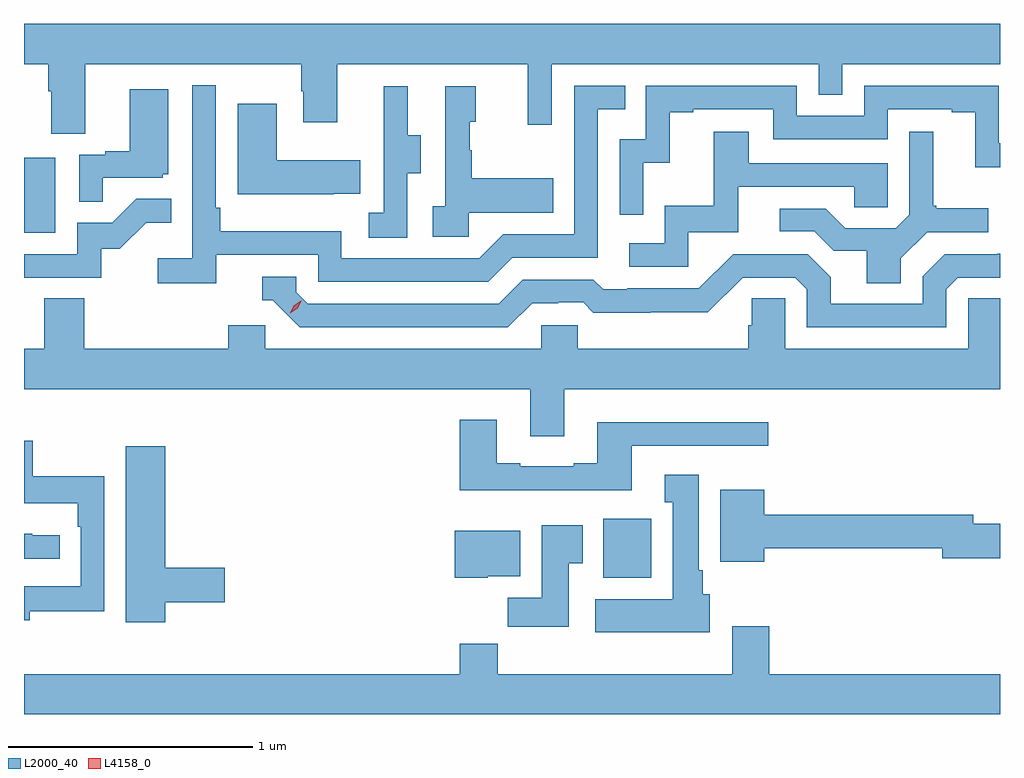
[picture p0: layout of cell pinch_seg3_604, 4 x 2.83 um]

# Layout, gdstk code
import gdstk
lib = gdstk.Library(unit=1e-6, precision=1e-09)
def R(c, l, rs):  # rectangles x0, y0, x1, y1
    for r in rs: c.add(gdstk.rectangle(r[:2], r[2:], *l))
def P(c, l, *ps):  # polygons
    for p in ps: c.add(gdstk.Polygon(p, *l))
L2000_40 = (2000, 40)
L4158_0 = (4158, 0)

pinch_seg3_604 = lib.new_cell('pinch_seg3_604')
R(pinch_seg3_604, L2000_40, [(1048.403,705.47,1048.6,705.712), (1046.029,706.884,1046.158,707.191)])
P(pinch_seg3_604, L2000_40, [(1046.281,707.576),(1047.166,707.576),(1047.166,707.465),(1047.173,707.465),(1047.173,707.337),(1047.313,707.337),(1047.313,707.576),(1048.094,707.576),(1048.094,707.328),(1048.191,707.328),(1048.191,707.576),(1049.286,707.576),(1049.286,707.449),(1049.382,707.449),(1049.382,707.576),(1050.029,707.576),(1050.029,707.74),(1046.029,707.74),(1046.029,707.576),(1046.129,707.576),(1046.129,707.464),(1046.141,707.464),(1046.141,707.29),(1046.281,707.29)],
  [(1046.816,706.794),(1047.234,706.794),(1047.234,706.683),(1047.931,706.683),(1048.03,706.782),(1048.38,706.782),(1048.38,707.391),(1048.493,707.391),(1048.493,707.487),(1048.284,707.487),(1048.284,706.878),(1047.993,706.878),(1047.894,706.779),(1047.33,706.779),(1047.33,706.891),(1046.834,706.891),(1046.834,706.987),(1046.814,706.987),(1046.814,707.488),(1046.718,707.488),(1046.718,706.78),(1046.577,706.78),(1046.577,706.678),(1046.816,706.678)],
  [(1048.566,707.171),(1048.676,707.171),(1048.676,707.379),(1048.771,707.379),(1048.771,707.391),(1049.1,707.391),(1049.1,707.268),(1049.568,707.268),(1049.568,707.391),(1049.831,707.391),(1049.831,707.379),(1049.927,707.379),(1049.927,707.153),(1050.029,707.153),(1050.029,707.251),(1050.024,707.251),(1050.024,707.487),(1049.472,707.487),(1049.472,707.364),(1049.196,707.364),(1049.196,707.487),(1048.578,707.487),(1048.578,707.268),(1048.47,707.268),(1048.47,706.959),(1048.566,706.959)],
  [(1047.852,706.967),(1048.199,706.967),(1048.199,707.107),(1047.865,707.107),(1047.865,707.222),(1047.855,707.222),(1047.855,707.34),(1047.88,707.34),(1047.88,707.485),(1047.756,707.485),(1047.756,706.994),(1047.705,706.994),(1047.705,706.869),(1047.852,706.869)],
  [(1047.6,707.128),(1047.655,707.128),(1047.655,707.283),(1047.601,707.283),(1047.601,707.485),(1047.503,707.485),(1047.503,707.271),(1047.504,707.271),(1047.504,706.967),(1047.441,706.967),(1047.441,706.864),(1047.6,706.864)],
  [(1046.351,707.109),(1046.598,707.109),(1046.598,707.124),(1046.62,707.124),(1046.62,707.473),(1046.462,707.473),(1046.462,707.218),(1046.363,707.218),(1046.363,707.205),(1046.256,707.205),(1046.256,707.011),(1046.351,707.011)],
  [(1047.299,707.045),(1047.407,707.045),(1047.407,707.182),(1047.064,707.182),(1047.064,707.413),(1046.906,707.413),(1046.906,707.042),(1047.299,707.042)],
  [(1048.752,706.887),(1048.957,706.887),(1048.957,707.073),(1049.431,707.073),(1049.431,706.989),(1049.568,706.989),(1049.568,707.169),(1048.999,707.169),(1048.999,707.299),(1048.855,707.299),(1048.855,706.996),(1048.656,706.996),(1048.656,706.842),(1048.509,706.842),(1048.509,706.746),(1048.752,706.746)],
  [(1049.623,706.78),(1049.73,706.887),(1049.98,706.887),(1049.98,706.984),(1049.767,706.984),(1049.767,706.996),(1049.755,706.996),(1049.755,707.299),(1049.658,707.299),(1049.658,706.959),(1049.601,706.902),(1049.395,706.902),(1049.314,706.983),(1049.127,706.983),(1049.127,706.89),(1049.268,706.89),(1049.348,706.81),(1049.483,706.81),(1049.483,706.678),(1049.623,706.678)],
  [(1046.346,706.818),(1046.422,706.818),(1046.529,706.925),(1046.633,706.925),(1046.633,707.024),(1046.489,707.024),(1046.391,706.926),(1046.247,706.926),(1046.247,706.797),(1046.029,706.797),(1046.029,706.701),(1046.346,706.701)],
  [(1048.111,706.596),(1048.218,706.596),(1048.218,706.599),(1048.321,706.599),(1048.363,706.557),(1048.596,706.557),(1048.596,706.559),(1048.832,706.559),(1048.974,706.701),(1049.19,706.701),(1049.238,706.653),(1049.238,706.497),(1049.808,706.497),(1049.808,706.653),(1049.856,706.701),(1050.029,706.701),(1050.029,706.799),(1050.018,706.799),(1050.018,706.797),(1049.802,706.797),(1049.712,706.707),(1049.712,706.593),(1049.335,706.593),(1049.335,706.703),(1049.241,706.797),(1048.935,706.797),(1048.794,706.656),(1048.501,706.656),(1048.501,706.653),(1048.402,706.653),(1048.363,706.692),(1048.074,706.692),(1047.975,706.593),(1047.192,706.593),(1047.144,706.641),(1047.144,706.704),(1047.005,706.704),(1047.005,706.608),(1047.048,706.608),(1047.159,706.497),(1048.012,706.497)],
  [(1050.029,706.616),(1049.898,706.616),(1049.898,706.408),(1049.148,706.408),(1049.148,706.616),(1049.011,706.616),(1049.011,706.506),(1048.997,706.506),(1048.997,706.408),(1048.299,706.408),(1048.299,706.506),(1048.149,706.506),(1048.149,706.408),(1047.018,706.408),(1047.018,706.506),(1046.867,706.506),(1046.867,706.408),(1046.276,706.408),(1046.276,706.616),(1046.111,706.616),(1046.111,706.408),(1046.029,706.408),(1046.029,706.244),(1048.103,706.244),(1048.103,706.05),(1048.243,706.05),(1048.243,706.244),(1050.029,706.244)],
  [(1048.519,706.011),(1049.08,706.011),(1049.08,706.108),(1048.379,706.108),(1048.379,705.94),(1048.283,705.94),(1048.283,705.927),(1048.063,705.927),(1048.063,705.94),(1047.967,705.94),(1047.967,706.117),(1047.815,706.117),(1047.815,705.83),(1048.519,705.83)],
  [(1046.053,705.334),(1046.358,705.334),(1046.358,705.886),(1046.065,705.886),(1046.065,706.032),(1046.029,706.032),(1046.029,705.776),(1046.249,705.776),(1046.249,705.68),(1046.262,705.68),(1046.262,705.435),(1046.029,705.435),(1046.029,705.296),(1046.053,705.296)],
  [(1046.608,705.37),(1046.851,705.37),(1046.851,705.512),(1046.608,705.512),(1046.608,706.009),(1046.447,706.009),(1046.447,705.288),(1046.608,705.288)],
  [(1048.84,705.402),(1048.81,705.402),(1048.81,705.502),(1048.795,705.502),(1048.795,705.892),(1048.655,705.892),(1048.655,705.779),(1048.688,705.779),(1048.688,705.382),(1048.371,705.382),(1048.371,705.248),(1048.84,705.248)],
  [(1049.062,705.592),(1049.792,705.592),(1049.792,705.55),(1050.029,705.55),(1050.029,705.692),(1049.92,705.692),(1049.92,705.728),(1049.062,705.728),(1049.062,705.832),(1048.883,705.832),(1048.883,705.536),(1049.062,705.536)],
  [(1048.261,705.529),(1048.318,705.529),(1048.318,705.685),(1048.151,705.685),(1048.151,705.388),(1048.012,705.388),(1048.012,705.27),(1048.261,705.27)],
  [(1047.93,705.476),(1048.063,705.476),(1048.063,705.664),(1047.794,705.664),(1047.794,705.47),(1047.93,705.47)],
  [(1046.176,705.645),(1046.063,705.645),(1046.063,705.65),(1046.029,705.65),(1046.029,705.549),(1046.176,705.549)],
  [(1050.029,705.076),(1049.084,705.076),(1049.084,705.271),(1048.931,705.271),(1048.931,705.076),(1047.971,705.076),(1047.971,705.2),(1047.815,705.2),(1047.815,705.076),(1046.029,705.076),(1046.029,704.912),(1050.029,704.912)])
P(pinch_seg3_604, L4158_0, [(1047.12,706.555),(1047.12,706.556),(1047.136,706.588),(1047.167,706.608),(1047.167,706.608),(1047.167,706.608),(1047.151,706.575),(1047.121,706.555)])

lib.write_gds('pinch_seg3_604.gds')
